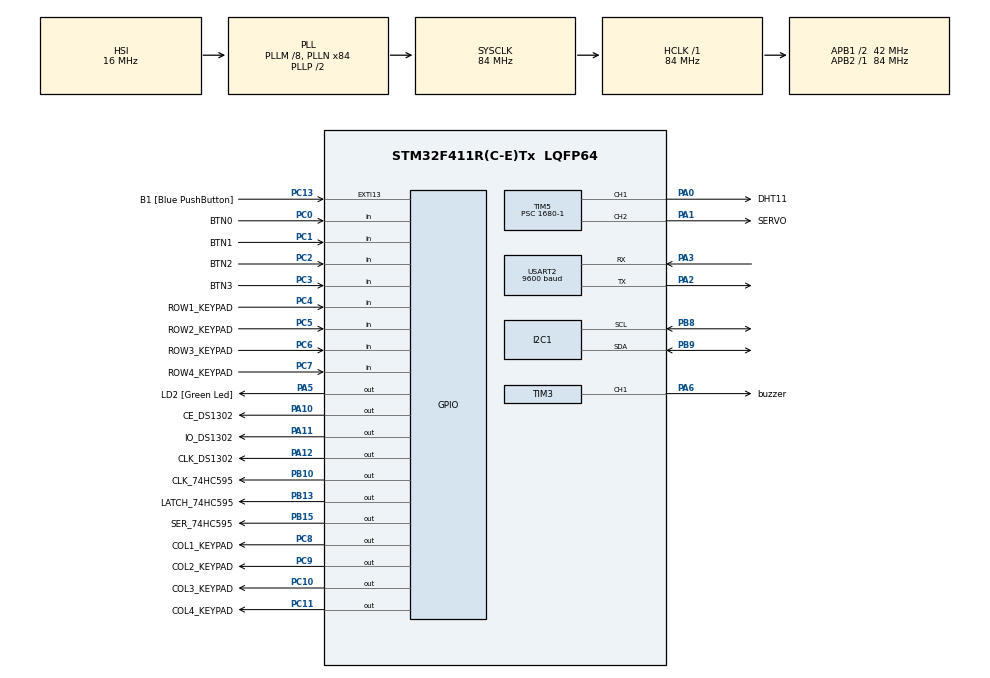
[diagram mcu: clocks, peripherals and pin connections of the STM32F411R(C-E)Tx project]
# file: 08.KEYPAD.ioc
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FREERTOS.Tasks01=defaultTask,24,128,StartDefaultTask,Default,NULL,Dynamic,NULL,NULL;myTask02,8,128,StartTask02,Default,NULL,Dynamic,NULL,NULL;myTask03,8,128,StartTask03,Default,NULL,Dynamic,NULL,NULL
FREERTOS.configUSE_NEWLIB_REENTRANT=1
Mcu.Family=STM32F4
Mcu.Name=STM32F411R(C-E)Tx
Mcu.Package=LQFP64
NVIC.PriorityGroup=NVIC_PRIORITYGROUP_4
NVIC.TIM1_TRG_COM_TIM11_IRQn=true\:5\:0\:false\:false\:true\:true\:true\:true
NVIC.TIM1_UP_TIM10_IRQn=true\:15\:0\:false\:false\:true\:false\:false\:true
NVIC.TIM3_IRQn=true\:5\:0\:false\:false\:true\:true\:true\:true
NVIC.TimeBase=TIM1_UP_TIM10_IRQn
NVIC.TimeBaseIP=TIM10
NVIC.USART2_IRQn=true\:5\:0\:false\:false\:true\:true\:true\:true
PA0-WKUP.GPIO_Label=DHT11
PA0-WKUP.Signal=S_TIM5_CH1
PA1.GPIO_Label=SERVO
PA1.Signal=S_TIM5_CH2
PA10.GPIO_Label=CE_DS1302
PA10.Signal=GPIO_Output
PA11.GPIO_Label=IO_DS1302
PA11.Signal=GPIO_Output
PA12.GPIO_Label=CLK_DS1302
PA12.Signal=GPIO_Output
PA13.GPIO_Label=TMS
PA13.Mode=Serial_Wire
PA13.Signal=SYS_JTMS-SWDIO
PA14.GPIO_Label=TCK
PA14.Mode=Serial_Wire
PA14.Signal=SYS_JTCK-SWCLK
PA2.GPIO_ModeDefaultPP=GPIO_MODE_AF_PP
PA2.GPIO_PuPd=GPIO_NOPULL
PA2.GPIO_Speed=GPIO_SPEED_FREQ_VERY_HIGH
PA2.Mode=Asynchronous
PA2.Signal=USART2_TX
PA3.GPIO_ModeDefaultPP=GPIO_MODE_AF_PP
PA3.GPIO_PuPd=GPIO_NOPULL
PA3.GPIO_Speed=GPIO_SPEED_FREQ_VERY_HIGH
PA3.Mode=Asynchronous
PA3.Signal=USART2_RX
PA5.GPIO_Label=LD2 [Green Led]
PA5.Signal=GPIO_Output
PA6.GPIO_Label=buzzer
PA6.Signal=S_TIM3_CH1
PB10.GPIO_Label=CLK_74HC595
PB10.Signal=GPIO_Output
PB13.GPIO_Label=LATCH_74HC595
PB13.Signal=GPIO_Output
PB15.GPIO_Label=SER_74HC595
PB15.Signal=GPIO_Output
PB8.Mode=I2C
PB8.Signal=I2C1_SCL
PB9.Mode=I2C
PB9.Signal=I2C1_SDA
PC0.GPIO_Label=BTN0
PC0.Signal=GPIO_Input
PC1.GPIO_Label=BTN1
PC1.Signal=GPIO_Input
PC10.GPIO_Label=COL3_KEYPAD
PC10.Signal=GPIO_Output
PC11.GPIO_Label=COL4_KEYPAD
PC11.Signal=GPIO_Output
PC13-ANTI_TAMP.GPIO_Label=B1 [Blue PushButton]
PC13-ANTI_TAMP.GPIO_ModeDefaultEXTI=GPIO_MODE_IT_FALLING
PC13-ANTI_TAMP.Signal=GPXTI13
PC14-OSC32_IN.Mode=LSE-External-Oscillator
PC14-OSC32_IN.Signal=RCC_OSC32_IN
PC15-OSC32_OUT.Mode=LSE-External-Oscillator
PC15-OSC32_OUT.Signal=RCC_OSC32_OUT
PC2.GPIO_Label=BTN2
PC2.Signal=GPIO_Input
PC3.GPIO_Label=BTN3
PC3.Signal=GPIO_Input
PC4.GPIO_Label=ROW1_KEYPAD
PC4.GPIO_PuPd=GPIO_PULLUP
PC4.Signal=GPIO_Input
PC5.GPIO_Label=ROW2_KEYPAD
PC5.GPIO_PuPd=GPIO_PULLUP
PC5.Signal=GPIO_Input
PC6.GPIO_Label=ROW3_KEYPAD
PC6.GPIO_PuPd=GPIO_PULLUP
PC6.Signal=GPIO_Input
PC7.GPIO_Label=ROW4_KEYPAD
PC7.GPIO_PuPd=GPIO_PULLUP
PC7.Signal=GPIO_Input
PC8.GPIO_Label=COL1_KEYPAD
PC8.Signal=GPIO_Output
PC9.GPIO_Label=COL2_KEYPAD
PC9.Signal=GPIO_Output
PH0\ -\ OSC_IN.Mode=HSE-External-Clock-Source
PH0\ -\ OSC_IN.Signal=RCC_OSC_IN
PH1\ -\ OSC_OUT.Mode=HSE-External-Clock-Source
PH1\ -\ OSC_OUT.Signal=RCC_OSC_OUT
ProjectManager.HeapSize=0x200
ProjectManager.StackSize=0x400
ProjectManager.TargetToolchain=STM32CubeIDE
RCC.48MHZClocksFreq_Value=42000000
RCC.AHBFreq_Value=84000000
RCC.APB1CLKDivider=RCC_HCLK_DIV2
RCC.APB1Freq_Value=42000000
RCC.APB1TimFreq_Value=84000000
RCC.APB2Freq_Value=84000000
RCC.APB2TimFreq_Value=84000000
RCC.CortexFreq_Value=84000000
RCC.FLatency-AdvancedSettings=FLASH_LATENCY_2
RCC.HCLKFreq_Value=84000000
RCC.HSE_VALUE=8000000
RCC.HSI_VALUE=16000000
RCC.PLLM=8
RCC.PLLN=84
RCC.SYSCLKFreq_VALUE=84000000
RCC.SYSCLKSource=RCC_SYSCLKSOURCE_PLLCLK
RCC.VCOOutputFreq_Value=168000000
SH.S_TIM3_CH1.0=TIM3_CH1,PWM Generation1 CH1
SH.S_TIM5_CH1.0=TIM5_CH1,PWM Generation1 CH1
SH.S_TIM5_CH2.0=TIM5_CH2,PWM Generation2 CH2
TIM11.Period=1000-1
TIM11.Prescaler=84-1
TIM2.Prescaler=84-1
TIM3.Channel-PWM\ Generation1\ CH1=TIM_CHANNEL_1
TIM3.Period=400-1
TIM3.Prescaler=52.5-1
TIM3.Pulse-PWM\ Generation1\ CH1=200-1
TIM5.Channel-PWM\ Generation1\ CH1=TIM_CHANNEL_1
TIM5.Channel-PWM\ Generation2\ CH2=TIM_CHANNEL_2
TIM5.Period=1000-1
TIM5.Prescaler=1680-1
USART2.BaudRate=9600
USART2.VirtualMode=VM_ASYNC
VP_FREERTOS_VS_CMSIS_V2.Mode=CMSIS_V2
VP_SYS_VS_tim10.Mode=TIM10
VP_TIM11_VS_ClockSourceINT.Mode=Enable_Timer
VP_TIM2_VS_ClockSourceINT.Mode=Internal
VP_TIM3_VS_ClockSourceINT.Mode=Internal
board=NUCLEO-F411RE

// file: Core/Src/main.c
/* USER CODE BEGIN Header */
/**
  ******************************************************************************
  * @file           : main.c
  * @brief          : Main program body
  ******************************************************************************
  * @attention
  *
  * <h2><center>&copy; Copyright (c) 2025 STMicroelectronics.
  * All rights reserved.</center></h2>
  *
  * This software component is licensed by ST under BSD 3-Clause license,
  * the "License"; You may not use this file except in compliance with the
  * License. You may obtain a copy of the License at:
  *                        opensource.org/licenses/BSD-3-Clause
  *
  ******************************************************************************
  */
/* USER CODE END Header */
#include "main.h"
#include "cmsis_os.h"

/* USER CODE BEGIN Includes */
#include "extern.h"
/* USER CODE END Includes */

I2C_HandleTypeDef hi2c1;

TIM_HandleTypeDef htim2;
TIM_HandleTypeDef htim3;
TIM_HandleTypeDef htim5;
TIM_HandleTypeDef htim11;

UART_HandleTypeDef huart2;

/* Definitions for defaultTask */
osThreadId_t defaultTaskHandle;
const osThreadAttr_t defaultTask_attributes = {
  .name = "defaultTask",
  .stack_size = 128 * 4,
  .priority = (osPriority_t) osPriorityNormal,
};
/* Definitions for myTask02 */
osThreadId_t myTask02Handle;
const osThreadAttr_t myTask02_attributes = {
  .name = "myTask02",
  .stack_size = 128 * 4,
  .priority = (osPriority_t) osPriorityLow,
};
/* Definitions for myTask03 */
osThreadId_t myTask03Handle;
const osThreadAttr_t myTask03_attributes = {
  .name = "myTask03",
  .stack_size = 128 * 4,
  .priority = (osPriority_t) osPriorityLow,
};
/* USER CODE BEGIN PV */
uint8_t rx_data;	//uart2 rx byte
volatile int TIM11_1ms_counter=0;
volatile int TIM11_keypad_scan_timer=0;

/* USER CODE END PV */

void SystemClock_Config(void);
static void MX_GPIO_Init(void);
static void MX_USART2_UART_Init(void);
static void MX_TIM11_Init(void);
static void MX_TIM2_Init(void);
static void MX_I2C1_Init(void);
static void MX_TIM3_Init(void);
static void MX_TIM5_Init(void);
void StartDefaultTask(void *argument);
void StartTask02(void *argument);
void StartTask03(void *argument);

/* USER CODE BEGIN 0 */
#ifdef __GNUC__    // Add for printf
/* With GCC, small printf (option LD Linker->Libraries->Small printf
   set to 'Yes') calls __io_putchar() */
#define PUTCHAR_PROTOTYPE int __io_putchar(int ch)
#else
#define PUTCHAR_PROTOTYPE int fputc(int ch, FILE *f)
#endif /* __GNUC__ */
/**
  * @brief  Retargets the C library printf function to the USART.
  * @param  None
  * @retval None
  */
PUTCHAR_PROTOTYPE   // Add for printf
{
  /* Place your implementation of fputc here */
  /* e.g. write a character to the USART3 and Loop until the end of transmission */
  HAL_UART_Transmit(&huart2, (uint8_t *)&ch, 1, 0xFFFF);

  return ch;
}
/* USER CODE END 0 */

int main(void)
{

  /* MCU Configuration--------------------------------------------------------*/

  /* Reset of all peripherals, Initializes the Flash interface and the Systick. */
  HAL_Init();

  /* Configure the system clock */
  SystemClock_Config();

  /* Initialize all configured peripherals */
  MX_GPIO_Init();
  MX_USART2_UART_Init();
  MX_TIM11_Init();
  MX_TIM2_Init();
  MX_I2C1_Init();
  MX_TIM3_Init();
  MX_TIM5_Init();
  /* USER CODE BEGIN 2 */
  HAL_UART_Receive_IT(&huart2, &rx_data, 1);
  HAL_TIM_Base_Start_IT(&htim11);
  HAL_TIM_Base_Start_IT(&htim2);	// for make delay_us
  keypadInit();
  while(1)
  {
	  char buffer[10] = { 0 };
	  int i = 0;
	  int result;
	  if (!queue_empty())
	  {
		  uint8_t key_value;
		  key_value = read_queue();
		  buffer[i] = key_value;
		  printf("%c", key_value);

	  }
	  i = (i + 1) % 3;
	  if (i % 3 == 2)
	  {
		result = multiple_number(buffer[0], buffer[1], buffer[2]);
		printf("%c %c %c = %d", buffer[0], buffer[1], buffer[2], result);
	  }

  }
//  ds1302_main();
//  buzzer_main();
  //servo_motor_main();
  //i2c_lcd_main();
  //led_main();
  //dht11_main();
  //dotmatrix_main_func();
//  dotmatrix_main_test();
  /* USER CODE END 2 */

  /* Init scheduler */
  osKernelInitialize();

  /* Create the thread(s) */
  /* creation of defaultTask */
  defaultTaskHandle = osThreadNew(StartDefaultTask, NULL, &defaultTask_attributes);

  /* creation of myTask02 */
  myTask02Handle = osThreadNew(StartTask02, NULL, &myTask02_attributes);

  /* creation of myTask03 */
  myTask03Handle = osThreadNew(StartTask03, NULL, &myTask03_attributes);

  /* Start scheduler */
  osKernelStart();

  /* We should never get here as control is now taken by the scheduler */
  /* Infinite loop */
  /* USER CODE BEGIN WHILE */
  while (1)
  {

//	  button_led_toggle_test();
//	  HAL_GPIO_TogglePin(GPIOA, GPIO_PIN_5);
//	  HAL_Delay(500);
//	  HAL_GPIO_WritePin(GPIOB, 0Xff, 1);
//	  HAL_Delay(500);
//	  HAL_GPIO_WritePin(GPIOB, 0Xff, 0);
//	  HAL_Delay(500);
    /* USER CODE END WHILE */

  }
}

void SystemClock_Config(void)
{
  RCC_OscInitTypeDef RCC_OscInitStruct = {0};
  RCC_ClkInitTypeDef RCC_ClkInitStruct = {0};

  /** Configure the main internal regulator output voltage
  */
  __HAL_RCC_PWR_CLK_ENABLE();
  __HAL_PWR_VOLTAGESCALING_CONFIG(PWR_REGULATOR_VOLTAGE_SCALE1);
  /** Initializes the RCC Oscillators according to the specified parameters
  * in the RCC_OscInitTypeDef structure.
  */
  RCC_OscInitStruct.OscillatorType = RCC_OSCILLATORTYPE_HSI;
  RCC_OscInitStruct.HSIState = RCC_HSI_ON;
  RCC_OscInitStruct.HSICalibrationValue = RCC_HSICALIBRATION_DEFAULT;
  RCC_OscInitStruct.PLL.PLLState = RCC_PLL_ON;
  RCC_OscInitStruct.PLL.PLLSource = RCC_PLLSOURCE_HSI;
  RCC_OscInitStruct.PLL.PLLM = 8;
  RCC_OscInitStruct.PLL.PLLN = 84;
  RCC_OscInitStruct.PLL.PLLP = RCC_PLLP_DIV2;
  RCC_OscInitStruct.PLL.PLLQ = 4;
  if (HAL_RCC_OscConfig(&RCC_OscInitStruct) != HAL_OK)
  {
    Error_Handler();
  }
  /** Initializes the CPU, AHB and APB buses clocks
  */
  RCC_ClkInitStruct.ClockType = RCC_CLOCKTYPE_HCLK|RCC_CLOCKTYPE_SYSCLK
                              |RCC_CLOCKTYPE_PCLK1|RCC_CLOCKTYPE_PCLK2;
  RCC_ClkInitStruct.SYSCLKSource = RCC_SYSCLKSOURCE_PLLCLK;
  RCC_ClkInitStruct.AHBCLKDivider = RCC_SYSCLK_DIV1;
  RCC_ClkInitStruct.APB1CLKDivider = RCC_HCLK_DIV2;
  RCC_ClkInitStruct.APB2CLKDivider = RCC_HCLK_DIV1;

  if (HAL_RCC_ClockConfig(&RCC_ClkInitStruct, FLASH_LATENCY_2) != HAL_OK)
  {
    Error_Handler();
  }
}

static void MX_I2C1_Init(void)
{

  hi2c1.Instance = I2C1;
  hi2c1.Init.ClockSpeed = 100000;
  hi2c1.Init.DutyCycle = I2C_DUTYCYCLE_2;
  hi2c1.Init.OwnAddress1 = 0;
  hi2c1.Init.AddressingMode = I2C_ADDRESSINGMODE_7BIT;
  hi2c1.Init.DualAddressMode = I2C_DUALADDRESS_DISABLE;
  hi2c1.Init.OwnAddress2 = 0;
  hi2c1.Init.GeneralCallMode = I2C_GENERALCALL_DISABLE;
  hi2c1.Init.NoStretchMode = I2C_NOSTRETCH_DISABLE;
  if (HAL_I2C_Init(&hi2c1) != HAL_OK)
  {
    Error_Handler();
  }

}

static void MX_TIM2_Init(void)
{

  TIM_ClockConfigTypeDef sClockSourceConfig = {0};
  TIM_MasterConfigTypeDef sMasterConfig = {0};

  htim2.Instance = TIM2;
  htim2.Init.Prescaler = 84-1;
  htim2.Init.CounterMode = TIM_COUNTERMODE_UP;
  htim2.Init.Period = 4294967295;
  htim2.Init.ClockDivision = TIM_CLOCKDIVISION_DIV1;
  htim2.Init.AutoReloadPreload = TIM_AUTORELOAD_PRELOAD_DISABLE;
  if (HAL_TIM_Base_Init(&htim2) != HAL_OK)
  {
    Error_Handler();
  }
  sClockSourceConfig.ClockSource = TIM_CLOCKSOURCE_INTERNAL;
  if (HAL_TIM_ConfigClockSource(&htim2, &sClockSourceConfig) != HAL_OK)
  {
    Error_Handler();
  }
  sMasterConfig.MasterOutputTrigger = TIM_TRGO_RESET;
  sMasterConfig.MasterSlaveMode = TIM_MASTERSLAVEMODE_DISABLE;
  if (HAL_TIMEx_MasterConfigSynchronization(&htim2, &sMasterConfig) != HAL_OK)
  {
    Error_Handler();
  }

}

static void MX_TIM3_Init(void)
{

  TIM_ClockConfigTypeDef sClockSourceConfig = {0};
  TIM_MasterConfigTypeDef sMasterConfig = {0};
  TIM_OC_InitTypeDef sConfigOC = {0};

  htim3.Instance = TIM3;
  htim3.Init.Prescaler = 52.5-1;
  htim3.Init.CounterMode = TIM_COUNTERMODE_UP;
  htim3.Init.Period = 400-1;
  htim3.Init.ClockDivision = TIM_CLOCKDIVISION_DIV1;
  htim3.Init.AutoReloadPreload = TIM_AUTORELOAD_PRELOAD_DISABLE;
  if (HAL_TIM_Base_Init(&htim3) != HAL_OK)
  {
    Error_Handler();
  }
  sClockSourceConfig.ClockSource = TIM_CLOCKSOURCE_INTERNAL;
  if (HAL_TIM_ConfigClockSource(&htim3, &sClockSourceConfig) != HAL_OK)
  {
    Error_Handler();
  }
  if (HAL_TIM_PWM_Init(&htim3) != HAL_OK)
  {
    Error_Handler();
  }
  sMasterConfig.MasterOutputTrigger = TIM_TRGO_RESET;
  sMasterConfig.MasterSlaveMode = TIM_MASTERSLAVEMODE_DISABLE;
  if (HAL_TIMEx_MasterConfigSynchronization(&htim3, &sMasterConfig) != HAL_OK)
  {
    Error_Handler();
  }
  sConfigOC.OCMode = TIM_OCMODE_PWM1;
  sConfigOC.Pulse = 200-1;
  sConfigOC.OCPolarity = TIM_OCPOLARITY_HIGH;
  sConfigOC.OCFastMode = TIM_OCFAST_DISABLE;
  if (HAL_TIM_PWM_ConfigChannel(&htim3, &sConfigOC, TIM_CHANNEL_1) != HAL_OK)
  {
    Error_Handler();
  }
  HAL_TIM_MspPostInit(&htim3);

}

static void MX_TIM5_Init(void)
{

  TIM_MasterConfigTypeDef sMasterConfig = {0};
  TIM_OC_InitTypeDef sConfigOC = {0};

  htim5.Instance = TIM5;
  htim5.Init.Prescaler = 1680-1;
  htim5.Init.CounterMode = TIM_COUNTERMODE_UP;
  htim5.Init.Period = 1000-1;
  htim5.Init.ClockDivision = TIM_CLOCKDIVISION_DIV1;
  htim5.Init.AutoReloadPreload = TIM_AUTORELOAD_PRELOAD_DISABLE;
  if (HAL_TIM_PWM_Init(&htim5) != HAL_OK)
  {
    Error_Handler();
  }
  sMasterConfig.MasterOutputTrigger = TIM_TRGO_RESET;
  sMasterConfig.MasterSlaveMode = TIM_MASTERSLAVEMODE_DISABLE;
  if (HAL_TIMEx_MasterConfigSynchronization(&htim5, &sMasterConfig) != HAL_OK)
  {
    Error_Handler();
  }
  sConfigOC.OCMode = TIM_OCMODE_PWM1;
  sConfigOC.Pulse = 0;
  sConfigOC.OCPolarity = TIM_OCPOLARITY_HIGH;
  sConfigOC.OCFastMode = TIM_OCFAST_DISABLE;
  if (HAL_TIM_PWM_ConfigChannel(&htim5, &sConfigOC, TIM_CHANNEL_1) != HAL_OK)
  {
    Error_Handler();
  }
  if (HAL_TIM_PWM_ConfigChannel(&htim5, &sConfigOC, TIM_CHANNEL_2) != HAL_OK)
  {
    Error_Handler();
  }
  HAL_TIM_MspPostInit(&htim5);

}

static void MX_TIM11_Init(void)
{

  htim11.Instance = TIM11;
  htim11.Init.Prescaler = 84-1;
  htim11.Init.CounterMode = TIM_COUNTERMODE_UP;
  htim11.Init.Period = 1000-1;
  htim11.Init.ClockDivision = TIM_CLOCKDIVISION_DIV1;
  htim11.Init.AutoReloadPreload = TIM_AUTORELOAD_PRELOAD_DISABLE;
  if (HAL_TIM_Base_Init(&htim11) != HAL_OK)
  {
    Error_Handler();
  }

}

static void MX_USART2_UART_Init(void)
{

  huart2.Instance = USART2;
  huart2.Init.BaudRate = 9600;
  huart2.Init.WordLength = UART_WORDLENGTH_8B;
  huart2.Init.StopBits = UART_STOPBITS_1;
  huart2.Init.Parity = UART_PARITY_NONE;
  huart2.Init.Mode = UART_MODE_TX_RX;
  huart2.Init.HwFlowCtl = UART_HWCONTROL_NONE;
  huart2.Init.OverSampling = UART_OVERSAMPLING_16;
  if (HAL_UART_Init(&huart2) != HAL_OK)
  {
    Error_Handler();
  }

}

static void MX_GPIO_Init(void)
{
  GPIO_InitTypeDef GPIO_InitStruct = {0};

  /* GPIO Ports Clock Enable */
  __HAL_RCC_GPIOC_CLK_ENABLE();
  __HAL_RCC_GPIOH_CLK_ENABLE();
  __HAL_RCC_GPIOA_CLK_ENABLE();
  __HAL_RCC_GPIOB_CLK_ENABLE();

  /*Configure GPIO pin Output Level */
  HAL_GPIO_WritePin(GPIOA, LD2_Pin|CE_DS1302_Pin|IO_DS1302_Pin|CLK_DS1302_Pin, GPIO_PIN_RESET);

  /*Configure GPIO pin Output Level */
  HAL_GPIO_WritePin(GPIOB, CLK_74HC595_Pin|LATCH_74HC595_Pin|SER_74HC595_Pin, GPIO_PIN_RESET);

  /*Configure GPIO pin Output Level */
  HAL_GPIO_WritePin(GPIOC, COL1_KEYPAD_Pin|COL2_KEYPAD_Pin|COL3_KEYPAD_Pin|COL4_KEYPAD_Pin, GPIO_PIN_RESET);

  /*Configure GPIO pin : B1_Pin */
  GPIO_InitStruct.Pin = B1_Pin;
  GPIO_InitStruct.Mode = GPIO_MODE_IT_FALLING;
  GPIO_InitStruct.Pull = GPIO_NOPULL;
  HAL_GPIO_Init(B1_GPIO_Port, &GPIO_InitStruct);

  /*Configure GPIO pins : BTN0_Pin BTN1_Pin BTN2_Pin BTN3_Pin */
  GPIO_InitStruct.Pin = BTN0_Pin|BTN1_Pin|BTN2_Pin|BTN3_Pin;
  GPIO_InitStruct.Mode = GPIO_MODE_INPUT;
  GPIO_InitStruct.Pull = GPIO_NOPULL;
  HAL_GPIO_Init(GPIOC, &GPIO_InitStruct);

  /*Configure GPIO pins : LD2_Pin CE_DS1302_Pin IO_DS1302_Pin CLK_DS1302_Pin */
  GPIO_InitStruct.Pin = LD2_Pin|CE_DS1302_Pin|IO_DS1302_Pin|CLK_DS1302_Pin;
  GPIO_InitStruct.Mode = GPIO_MODE_OUTPUT_PP;
  GPIO_InitStruct.Pull = GPIO_NOPULL;
  GPIO_InitStruct.Speed = GPIO_SPEED_FREQ_LOW;
  HAL_GPIO_Init(GPIOA, &GPIO_InitStruct);

  /*Configure GPIO pins : ROW1_KEYPAD_Pin ROW2_KEYPAD_Pin ROW3_KEYPAD_Pin ROW4_KEYPAD_Pin */
  GPIO_InitStruct.Pin = ROW1_KEYPAD_Pin|ROW2_KEYPAD_Pin|ROW3_KEYPAD_Pin|ROW4_KEYPAD_Pin;
  GPIO_InitStruct.Mode = GPIO_MODE_INPUT;
  GPIO_InitStruct.Pull = GPIO_PULLUP;
  HAL_GPIO_Init(GPIOC, &GPIO_InitStruct);

  /*Configure GPIO pins : CLK_74HC595_Pin LATCH_74HC595_Pin SER_74HC595_Pin */
  GPIO_InitStruct.Pin = CLK_74HC595_Pin|LATCH_74HC595_Pin|SER_74HC595_Pin;
  GPIO_InitStruct.Mode = GPIO_MODE_OUTPUT_PP;
  GPIO_InitStruct.Pull = GPIO_NOPULL;
  GPIO_InitStruct.Speed = GPIO_SPEED_FREQ_LOW;
  HAL_GPIO_Init(GPIOB, &GPIO_InitStruct);

  /*Configure GPIO pins : COL1_KEYPAD_Pin COL2_KEYPAD_Pin COL3_KEYPAD_Pin COL4_KEYPAD_Pin */
  GPIO_InitStruct.Pin = COL1_KEYPAD_Pin|COL2_KEYPAD_Pin|COL3_KEYPAD_Pin|COL4_KEYPAD_Pin;
  GPIO_InitStruct.Mode = GPIO_MODE_OUTPUT_PP;
  GPIO_InitStruct.Pull = GPIO_NOPULL;
  GPIO_InitStruct.Speed = GPIO_SPEED_FREQ_LOW;
  HAL_GPIO_Init(GPIOC, &GPIO_InitStruct);

}

void StartDefaultTask(void *argument)
{
  /* USER CODE BEGIN 5 */
  /* Infinite loop */
  for(;;)
  {
	  HAL_GPIO_TogglePin(GPIOA, GPIO_PIN_5);
	  osDelay(50); //
  }
  /* USER CODE END 5 */
}

void StartTask02(void *argument)
{
  /* USER CODE BEGIN StartTask02 */
  /* Infinite loop */
  for(;;)
  {
	  button_led_toggle_test();
	  osDelay(1);
  }
  /* USER CODE END StartTask02 */
}

void StartTask03(void *argument)
{
  for(;;)
  {
    osDelay(1);
  }
}

void HAL_TIM_PeriodElapsedCallback(TIM_HandleTypeDef *htim)
{
  if (htim->Instance == TIM10) {
    HAL_IncTick();
  }
  /* USER CODE BEGIN Callback 1 */
  if (htim->Instance == TIM11) {
	  TIM11_1ms_counter++;
	  TIM11_keypad_scan_timer++;
	  if (TIM11_keypad_scan_timer >= 60)
	  {
		  uint8_t  key_value;

		  TIM11_keypad_scan_timer = 0;
		  key_value = keypadScan();
		  if (key_value)
		  {
			  insert_queue(key_value);	//circular queue?�� insert
		  }
	  }
    }
  /* USER CODE END Callback 1 */
}

void Error_Handler(void)
{
  __disable_irq();
  while (1)
  {
  }
}

/************************ (C) COPYRIGHT STMicroelectronics *****END OF FILE****/
